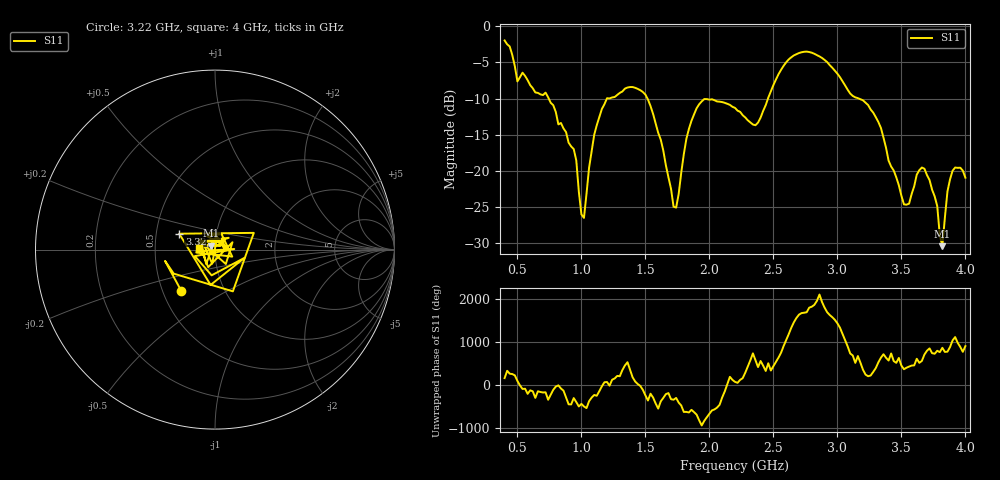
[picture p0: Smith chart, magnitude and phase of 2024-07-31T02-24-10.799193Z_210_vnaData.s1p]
!Created with skrf (http://scikit-rf.org).
# Hz S RI R 50.0
!freq ReS11 ImS11
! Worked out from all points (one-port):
!   181 points, 400 MHz to 4 GHz, reference 50 ohm
!   lowest |S11| = -30.4 dB at 3.82 GHz (marker M1), VSWR 1.06, Z = 47.9 + j2.09 ohm
!   |S11| at or under -10 dB: 745 MHz to 1.199 GHz (453.7 MHz wide, 46.7 % of centre); 1.516 GHz to 2.457 GHz (941 MHz wide, 47.4 % of centre); 3.169 GHz to end of sweep
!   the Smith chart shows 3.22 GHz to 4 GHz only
!   S11 on the Smith chart (normalised r, x): 3.22 GHz: 0.62, -0.31; 3.32 GHz: 0.66, +0.12; 4 GHz: 0.84, +0.02
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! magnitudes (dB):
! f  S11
! 400 MHz  -2.0
! 500 MHz  -7.6
! 720 MHz  -9.2
! 860 MHz  -14.1
! 940 MHz  -17.0
! 1.02 GHz  -26.5
! 1.12 GHz  -13.7
! 1.3 GHz  -9.2
! 1.5 GHz  -9.4
! 1.62 GHz  -15.7
! 1.72 GHz  -24.9
! 1.76 GHz  -23.2
! 1.82 GHz  -15.6
! 1.92 GHz  -10.8
! 2.2 GHz  -11.3
! 2.36 GHz  -13.7
! 2.66 GHz  -4.0
! 2.88 GHz  -4.4
! 3.1 GHz  -9.3
! 3.22 GHz  -10.6
! 3.32 GHz  -13.2
! 3.56 GHz  -24.5
! 3.68 GHz  -19.7
! 3.78 GHz  -24.8
! 3.82 GHz  -30.4
! 3.86 GHz  -22.8
! 3.9 GHz  -20.0
! 4 GHz  -20.9
